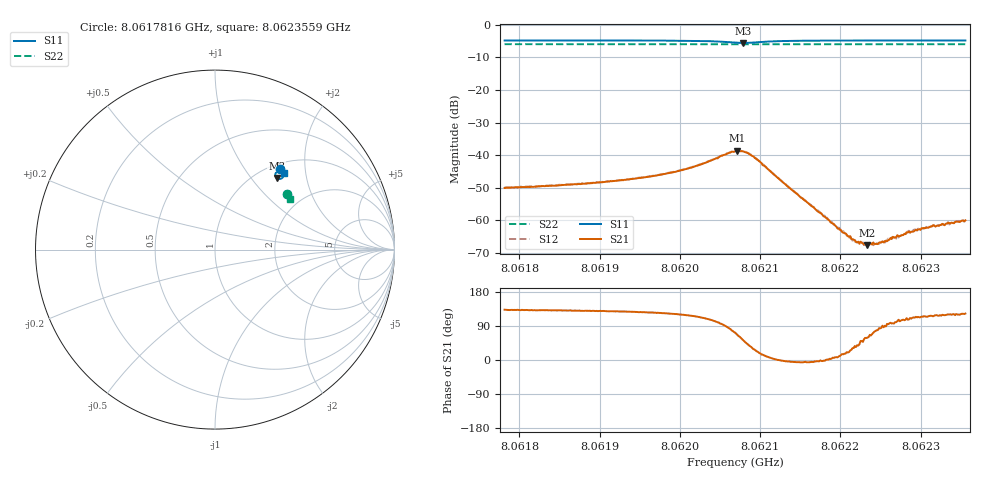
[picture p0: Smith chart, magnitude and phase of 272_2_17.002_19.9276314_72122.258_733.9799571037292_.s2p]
#  HZ  S  RI  R  50.00
! Rohde & Schwarz Vector Network Analyzer
! Rohde-Schwarz,ZNB20-2Port,1311601062101988,3.16
! Created: UTC 3/20/2024, 11:04:14 PM
! freq[Hz]  re:S11  im:S11  re:S21  im:S21  re:S12  im:S12  re:S22  im:S22
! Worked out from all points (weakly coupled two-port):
!   401 points, 8.0617816 GHz to 8.0623559 GHz, reference 50 ohm
!   highest |S21| = -38.70 dB at 8.0620716 GHz (marker M1); lowest = -67.6 dB at 8.0622339 GHz (marker M2)
!   lowest |S11| = -5.6 dB at 8.0620788 GHz (marker M3), VSWR 3.23, Z = 61.3 + j67.7 ohm
!   |S11| at or under -10 dB: nowhere
!   |S22| runs from -6.0 to -5.9 dB; largest |S21 - S12| = 0.00089
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8.06178157e9  0.363 0.447  -0.00212 0.00229  -0.00196 0.00249  0.3985 0.3108
8.06187777e9  0.3699 0.4408  -0.00231 0.00278  -0.00222 0.00294  0.4021 0.3059
8.06192947e9  0.374 0.4365  -0.00253 0.00324  -0.00235 0.00341  0.4039 0.3033
8.06197398e9  0.3781 0.4311  -0.00278 0.00409  -0.00256 0.00426  0.4055 0.3009
8.06201706e9  0.382 0.421  -0.00289 0.00594  -0.00256 0.00617  0.4071 0.2984
8.06206875e9  0.3592 0.3931  0.00343 0.0109  0.00423 0.0107  0.4072 0.2948
8.06207162e9  0.3547 0.3936  0.00466 0.0106  0.00519 0.0105  0.407 0.2949
8.0620788e9  0.3441 0.3987  0.00694 0.009  0.00748 0.00876  0.407 0.2949
8.06208598e9  0.3374 0.4086  0.00815 0.00656  0.00867 0.00616  0.4072 0.2952
8.0620946e9  0.3365 0.4209  0.00804 0.00374  0.00837 0.00325  0.4076 0.2953
8.06216496e9  0.3667 0.4386  0.00162 -0.000145  0.00162 -0.000213  0.4116 0.2924
8.06221234e9  0.3745 0.4354  0.000515 0.000243  0.000507 0.000227  0.4133 0.29
8.06222096e9  0.3755 0.4349  0.000354 0.000284  0.000375 0.000266  0.4137 0.2894
8.06223388e9  0.377 0.4341  0.000213 0.000358  0.000226 0.000339  0.4142 0.2887
8.06224537e9  0.3781 0.4333  8.48e-05 0.000423  8.4e-05 0.000436  0.4146 0.288
8.06226117e9  0.3797 0.4324  -5.81e-05 0.000498  -4.47e-05 0.000519  0.4151 0.2873
8.06227265e9  0.3806 0.4317  -0.000159 0.000541  -8.06e-05 0.000536  0.4156 0.2866
8.0622827e9  0.3815 0.431  -0.000226 0.000609  -0.000158 0.000636  0.4159 0.2861
8.06229419e9  0.3825 0.4303  -0.00029 0.000652  -0.000225 0.000677  0.4163 0.2856
8.0623143e9  0.3839 0.4292  -0.000355 0.000721  -0.000305 0.000743  0.417 0.2844
8.06234445e9  0.3862 0.4275  -0.000495 0.000816  -0.000442 0.000847  0.4179 0.2829
8.06235594e9  0.387 0.4266  -0.000535 0.000837  -0.000455 0.000855  0.4183 0.2824
